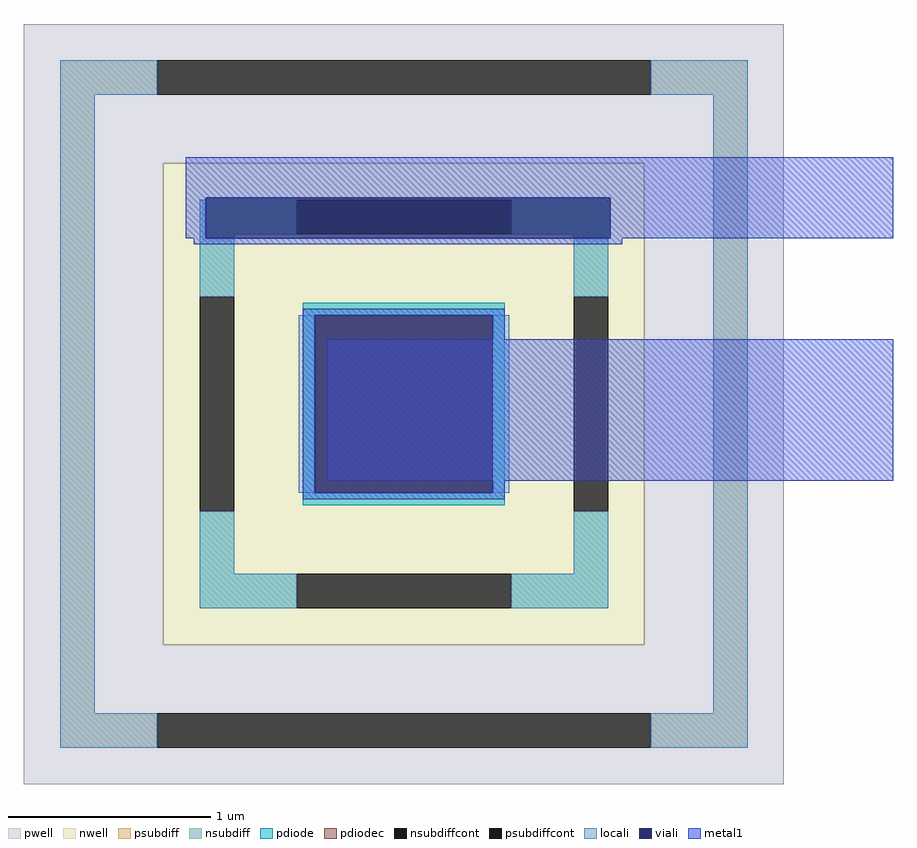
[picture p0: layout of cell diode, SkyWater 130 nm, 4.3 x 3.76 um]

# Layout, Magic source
magic
tech sky130A
<< viali >>
rect -10 220 190 240
<< metal1 >>
rect -20 240 330 260
rect -20 220 -10 240
rect 190 220 330 240
rect -16 217 196 220
rect 50 100 330 170
use sky130_fd_pr__diode_pd2nw_05v5_UW3TFX  sky130_fd_pr__diode_pd2nw_05v5_UW3TFX_0
transform 1 0 88 0 1 138
box -188 -188 188 188
<< labels >>
flabel space 381 245 596 398 0 FreeSans 800 0 0 0 NP
flabel space 390 -4 605 149 0 FreeSans 800 0 0 0 PP
<< end >>

# cell sky130_fd_pr__diode_pd2nw_05v5_UW3TFX: kit device sky130_fd_pr__diode_pd2nw_05v5, w 1 l 1 area 1.0 peri 4.0 nx 1 ny 1 dummy 0 lmin 0.45 wmin 0.45 elc 1 erc 1 etc 1 ebc 1 glc 0 grc 0 gtc 1 gbc 1 doverlap 0 compatible {sky130_fd_pr__diode_pd2nw_05v5 sky130_fd_pr__diode_pd2nw_05v5_lvt sky130_fd_pr__diode_pd2nw_05v5_hvt sky130_fd_pr__diode_pd2nw_11v0} full_metal 1 vias 1 viagb 0 viagt 0 viagl 0 viagr 0
